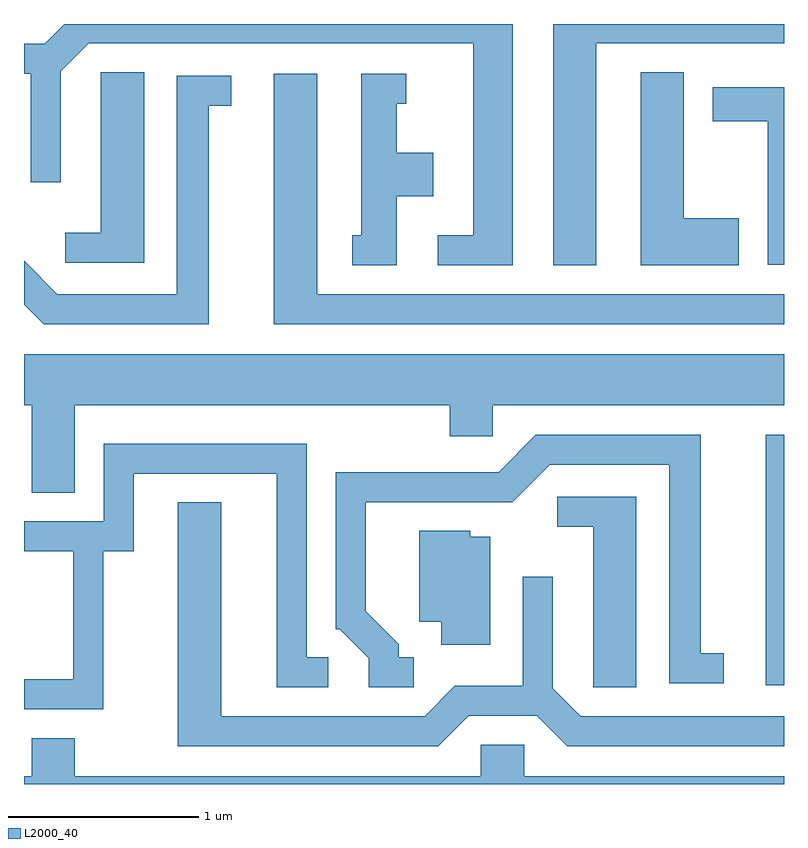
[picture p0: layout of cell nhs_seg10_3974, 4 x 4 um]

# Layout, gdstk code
import gdstk
lib = gdstk.Library(unit=1e-6, precision=1e-09)
def R(c, l, rs):  # rectangles x0, y0, x1, y1
    for r in rs: c.add(gdstk.rectangle(r[:2], r[2:], *l))
def P(c, l, *ps):  # polygons
    for p in ps: c.add(gdstk.Polygon(p, *l))
L2000_40 = (2000, 40)

nhs_seg10_3974 = lib.new_cell('nhs_seg10_3974')
R(nhs_seg10_3974, L2000_40, [(305.516,2179.041,305.611,2180.359)])
P(nhs_seg10_3974, L2000_40, [(304.184,2182.522),(301.822,2182.522),(301.719,2182.419),(301.611,2182.419),(301.611,2182.261),(301.646,2182.261),(301.646,2181.688),(301.804,2181.688),(301.804,2182.274),(301.952,2182.421),(303.976,2182.421),(303.976,2181.409),(303.788,2181.409),(303.788,2181.251),(304.184,2181.251)],
  [(304.624,2182.421),(305.611,2182.421),(305.611,2182.522),(304.396,2182.522),(304.396,2181.251),(304.624,2181.251)],
  [(305.374,2181.499),(305.084,2181.499),(305.084,2182.269),(304.856,2182.269),(304.856,2181.251),(305.374,2181.251)],
  [(302.244,2182.269),(302.016,2182.269),(302.016,2181.424),(301.828,2181.424),(301.828,2181.266),(302.244,2181.266)],
  [(305.611,2181.099),(303.154,2181.099),(303.154,2182.259),(302.926,2182.259),(302.926,2180.941),(305.611,2180.941)],
  [(303.574,2181.616),(303.764,2181.616),(303.764,2181.844),(303.574,2181.844),(303.574,2182.101),(303.623,2182.101),(303.623,2182.259),(303.386,2182.259),(303.386,2181.409),(303.338,2181.409),(303.338,2181.251),(303.574,2181.251)],
  [(302.584,2182.091),(302.703,2182.091),(302.703,2182.249),(302.416,2182.249),(302.416,2181.099),(301.787,2181.099),(301.611,2181.275),(301.611,2181.044),(301.714,2180.941),(302.584,2180.941)],
  [(305.611,2182.189),(305.236,2182.189),(305.236,2182.011),(305.526,2182.011),(305.526,2181.256),(305.611,2181.256)],
  [(301.879,2180.516),(303.851,2180.516),(303.851,2180.351),(304.079,2180.351),(304.079,2180.516),(305.611,2180.516),(305.611,2180.784),(301.611,2180.784),(301.611,2180.516),(301.651,2180.516),(301.651,2180.056),(301.879,2180.056)],
  [(303.663,2179.189),(303.584,2179.189),(303.584,2179.257),(303.409,2179.432),(303.409,2180.006),(304.182,2180.006),(304.377,2180.201),(305.006,2180.201),(305.006,2179.051),(305.293,2179.051),(305.293,2179.209),(305.174,2179.209),(305.174,2180.359),(304.304,2180.359),(304.109,2180.164),(303.251,2180.164),(303.251,2179.336),(303.274,2179.336),(303.426,2179.184),(303.426,2179.031),(303.663,2179.031)],
  [(302.029,2179.746),(302.189,2179.746),(302.189,2180.156),(302.941,2180.156),(302.941,2179.031),(303.213,2179.031),(303.213,2179.189),(303.099,2179.189),(303.099,2180.314),(302.031,2180.314),(302.031,2179.904),(301.611,2179.904),(301.611,2179.746),(301.871,2179.746),(301.871,2179.074),(301.611,2179.074),(301.611,2178.916),(302.029,2178.916)],
  [(304.834,2180.034),(304.418,2180.034),(304.418,2179.876),(304.606,2179.876),(304.606,2179.031),(304.834,2179.031)],
  [(303.952,2178.881),(304.309,2178.881),(304.469,2178.721),(305.611,2178.721),(305.611,2178.879),(304.542,2178.879),(304.394,2179.027),(304.394,2179.613),(304.236,2179.613),(304.236,2179.039),(303.879,2179.039),(303.719,2178.879),(302.649,2178.879),(302.649,2180.004),(302.421,2180.004),(302.421,2178.721),(303.792,2178.721)],
  [(304.064,2179.824),(303.959,2179.824),(303.959,2179.854),(303.691,2179.854),(303.691,2179.376),(303.806,2179.376),(303.806,2179.256),(304.064,2179.256)],
  [(305.611,2178.564),(304.244,2178.564),(304.244,2178.729),(304.016,2178.729),(304.016,2178.564),(301.879,2178.564),(301.879,2178.764),(301.651,2178.764),(301.651,2178.564),(301.611,2178.564),(301.611,2178.522),(305.611,2178.522)])

lib.write_gds('nhs_seg10_3974.gds')
